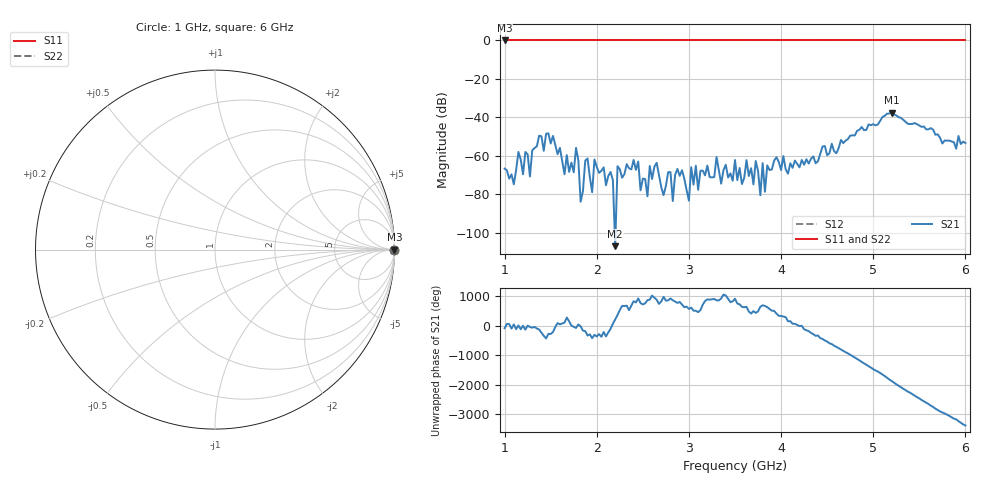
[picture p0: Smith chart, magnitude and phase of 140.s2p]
!Keysight Technologies N9926A: A.08.19
!Date: Sunday, 01 March 2026 13:43:05
!Timezone: (GMT-06:00) Central Time (US & Canada)
!Model: N9926A
!Serial: MY53102721
!GPS Latitude:
!GPS Longitude:
!GPS TimeStamp: 0001-01-01 00:00:00Z
!GPS Seconds Since Last Read: 0
!CHECKSUM:1011035115
!Correction: S11()S21(ON U)S12()S22()
!S2P File: Measurements:S11,S21,S12,S22:
# Hz S DB R 50
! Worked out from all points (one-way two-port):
!   201 points, 1 GHz to 6 GHz, reference 50 ohm
!   highest |S21| = -37.58 dB at 5.2 GHz (marker M1); lowest = -107.1 dB at 2.2 GHz (marker M2)
!   lowest |S11| = 0.0 dB at 1 GHz (marker M3)
!   |S11| at or under -10 dB: nowhere
!   |S22| runs from 0.0 to 0.0 dB; largest |S21 - S12| = 1
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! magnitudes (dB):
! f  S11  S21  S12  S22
! 1 GHz  0.0  -66.7  0.0  0.0
! 1.275 GHz  0.0  -70.8  0.0  0.0
! 1.475 GHz  0.0  -48.3  0.0  0.0
! 1.65 GHz  0.0  -69.7  0.0  0.0
! 1.775 GHz  0.0  -55.9  0.0  0.0
! 1.85 GHz  0.0  -78.5  0.0  0.0
! 1.9 GHz  0.0  -61.5  0.0  0.0
! 1.95 GHz  0.0  -79.0  0.0  0.0
! 1.975 GHz  0.0  -61.9  0.0  0.0
! 2.2 GHz  0.0  -107.1  0.0  0.0
! 2.225 GHz  0.0  -65.5  0.0  0.0
! 2.675 GHz  0.0  -70.1  0.0  0.0
! 3.5 GHz  0.0  -62.3  0.0  0.0
! 3.725 GHz  0.0  -62.8  0.0  0.0
! 3.775 GHz  0.0  -80.6  0.0  0.0
! 3.8 GHz  0.0  -63.9  0.0  0.0
! 3.825 GHz  0.0  -78.8  0.0  0.0
! 3.95 GHz  0.0  -60.8  0.0  0.0
! 4.35 GHz  0.0  -60.4  0.0  0.0
! 5.175 GHz  0.0  -38.0  0.0  0.0
! 5.2 GHz  0.0  -37.6  0.0  0.0
! 6 GHz  0.0  -53.4  0.0  0.0
